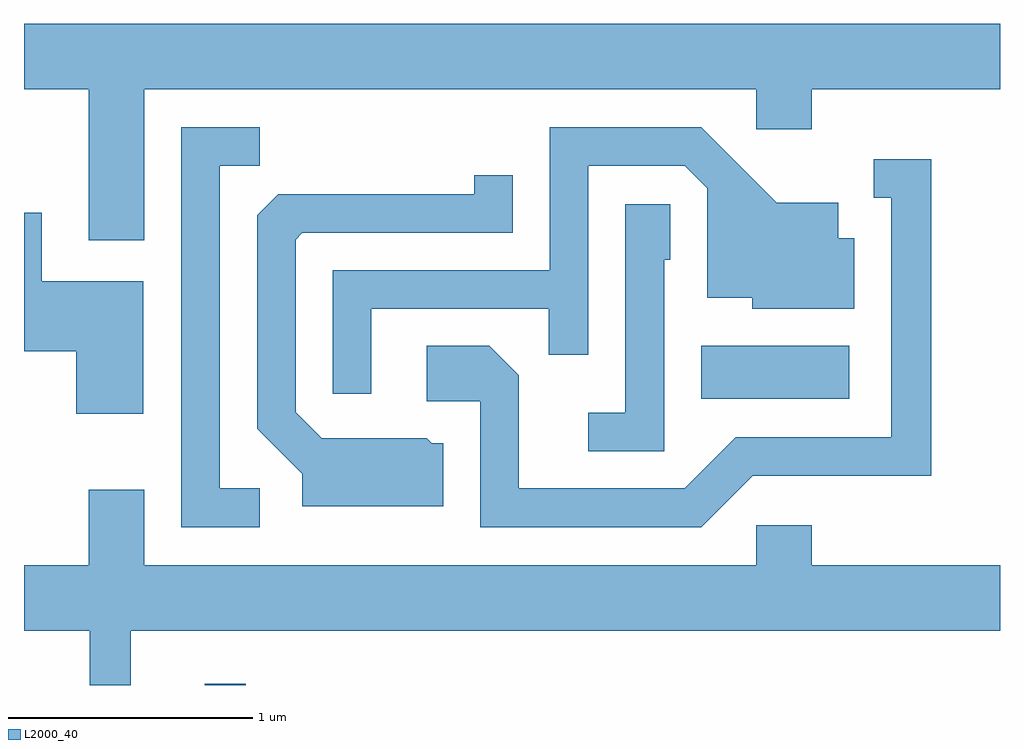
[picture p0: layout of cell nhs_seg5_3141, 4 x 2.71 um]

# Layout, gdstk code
import gdstk
lib = gdstk.Library(unit=1e-6, precision=1e-09)
def R(c, l, rs):  # rectangles x0, y0, x1, y1
    for r in rs: c.add(gdstk.rectangle(r[:2], r[2:], *l))
def P(c, l, *ps):  # polygons
    for p in ps: c.add(gdstk.Polygon(p, *l))
L2000_40 = (2000, 40)

nhs_seg5_3141 = lib.new_cell('nhs_seg5_3141')
R(nhs_seg5_3141, L2000_40, [(278.351,1512.072,278.519,1512.078), (280.386,1513.246,280.994,1513.464)])
P(nhs_seg5_3141, L2000_40, [(278.104,1514.516),(280.611,1514.516),(280.611,1514.351),(280.839,1514.351),(280.839,1514.516),(281.611,1514.516),(281.611,1514.784),(277.611,1514.784),(277.611,1514.516),(277.876,1514.516),(277.876,1513.896),(278.104,1513.896)],
  [(278.578,1512.879),(278.414,1512.879),(278.414,1514.201),(278.578,1514.201),(278.578,1514.359),(278.256,1514.359),(278.256,1512.721),(278.578,1512.721)],
  [(279.034,1513.616),(279.761,1513.616),(279.761,1513.428),(279.924,1513.428),(279.924,1514.201),(280.319,1514.201),(280.411,1514.109),(280.411,1513.661),(280.596,1513.661),(280.596,1513.616),(281.014,1513.616),(281.014,1513.904),(280.949,1513.904),(280.949,1514.049),(280.697,1514.049),(280.387,1514.359),(279.766,1514.359),(279.766,1513.774),(278.876,1513.774),(278.876,1513.268),(279.034,1513.268)],
  [(280.597,1512.931),(281.329,1512.931),(281.329,1514.229),(281.093,1514.229),(281.093,1514.071),(281.166,1514.071),(281.166,1513.089),(280.529,1513.089),(280.319,1512.879),(279.639,1512.879),(279.639,1513.342),(279.517,1513.464),(279.261,1513.464),(279.261,1513.236),(279.481,1513.236),(279.481,1512.721),(280.387,1512.721)],
  [(279.329,1513.064),(279.282,1513.064),(279.262,1513.084),(278.832,1513.084),(278.724,1513.192),(278.724,1513.899),(278.752,1513.926),(279.614,1513.926),(279.614,1514.163),(279.456,1514.163),(279.456,1514.084),(278.652,1514.084),(278.566,1513.999),(278.566,1513.124),(278.751,1512.939),(278.751,1512.806),(279.329,1512.806)],
  [(280.234,1513.816),(280.259,1513.816),(280.259,1514.044),(280.076,1514.044),(280.076,1513.189),(279.923,1513.189),(279.923,1513.031),(280.234,1513.031)],
  [(278.099,1513.729),(277.684,1513.729),(277.684,1514.009),(277.611,1514.009),(277.611,1513.441),(277.826,1513.441),(277.826,1513.186),(278.099,1513.186)],
  [(278.049,1512.296),(281.611,1512.296),(281.611,1512.564),(280.839,1512.564),(280.839,1512.729),(280.611,1512.729),(280.611,1512.564),(278.104,1512.564),(278.104,1512.874),(277.876,1512.874),(277.876,1512.564),(277.611,1512.564),(277.611,1512.296),(277.881,1512.296),(277.881,1512.072),(278.049,1512.072)])

lib.write_gds('nhs_seg5_3141.gds')
